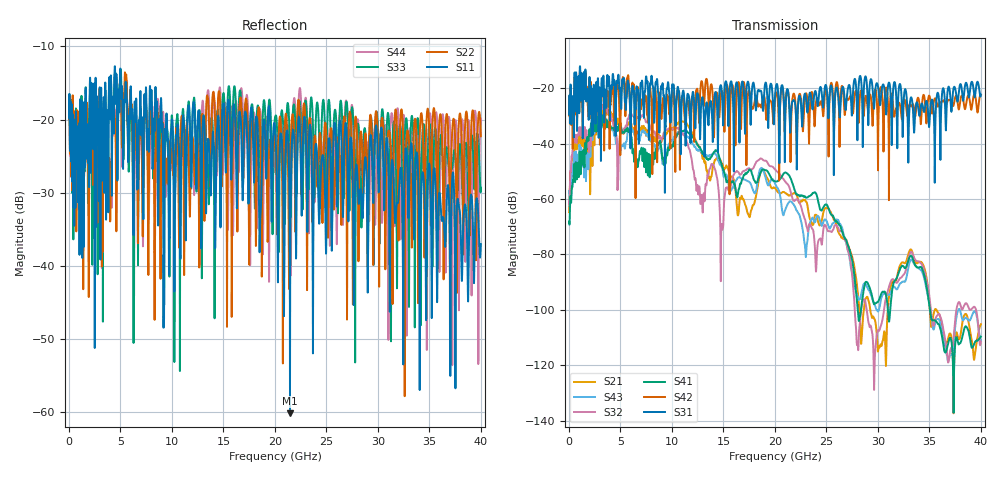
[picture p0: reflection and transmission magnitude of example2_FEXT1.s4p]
! File created by SignalIntegrity v1.2.0: Signal and Power Integrity Tools
! https://github.com/TeledyneLeCroy/SignalIntegrity
# MHz S MA R 50.0
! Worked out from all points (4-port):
!   4000 points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, 10 MHz to 40 GHz, reference 50 ohm
!   strongest paths, dB at 10 MHz, 10.01 GHz, 20.01 GHz, 30.01 GHz, 40 GHz:
!     S31: -29.5, -18.9, -22.8, -19.4, -22.3
!     S42: -29.9, -21.7, -23.7, -49.6, -22.4
!     S41: -68.2, -40.5, -53.6, -97.1, -109.7
!     S32: -61.0, -34.8, -49.3, -107.3, -111.5
!     S43: -57.1, -38.6, -54.4, -100.6, -111.0
!     S21: -64.7, -34.6, -56.1, -115.0, -105.2
!   lowest |S11| = -60.1 dB at 21.46 GHz (marker M1), VSWR 1.00, Z = 49.9 - j0.0136 ohm
!   |S11| at or under -10 dB: start of sweep to end of sweep
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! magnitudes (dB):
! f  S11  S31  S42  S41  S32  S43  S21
! 10 MHz  -19.8  -29.5  -29.9  -68.2  -61.0  -57.1  -64.7
! 3.08 GHz  -19.2  -28.0  -27.6  -29.2  -26.4  -30.2  -27.0
! 10.78 GHz  -37.1  -28.7  -40.3  -35.5  -34.8  -35.5  -32.0
! 14.83 GHz  -22.2  -20.9  -21.0  -47.7  -69.1  -48.4  -47.4
! 21.46 GHz  -60.1  -34.3  -32.1  -52.1  -56.5  -60.8  -58.7
! 27.53 GHz  -26.8  -25.5  -27.9  -82.7  -88.7  -87.6  -81.3
! 40 GHz  -37.0  -22.3  -22.4  -109.7  -111.5  -111.0  -105.2
